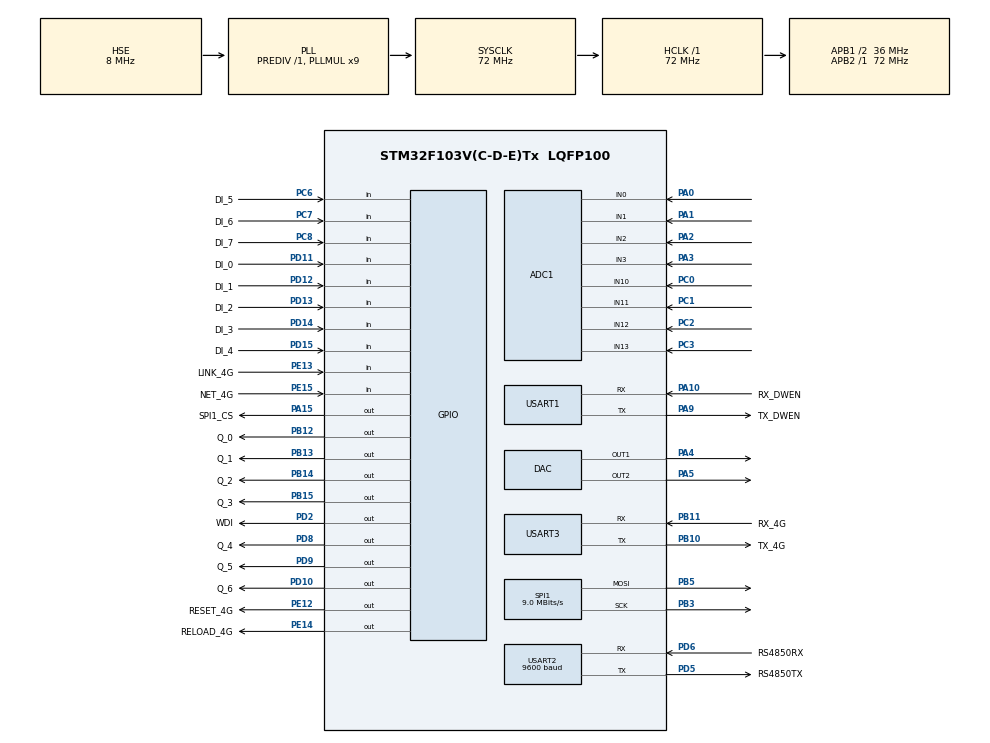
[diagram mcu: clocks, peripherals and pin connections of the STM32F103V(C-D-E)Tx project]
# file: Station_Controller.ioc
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ADC1.Channel-0\#ChannelRegularConversion=ADC_CHANNEL_0
ADC1.Channel-1\#ChannelRegularConversion=ADC_CHANNEL_1
ADC1.Channel-2\#ChannelRegularConversion=ADC_CHANNEL_2
ADC1.Channel-3\#ChannelRegularConversion=ADC_CHANNEL_3
ADC1.Channel-4\#ChannelRegularConversion=ADC_CHANNEL_10
ADC1.Channel-5\#ChannelRegularConversion=ADC_CHANNEL_11
ADC1.Channel-6\#ChannelRegularConversion=ADC_CHANNEL_12
ADC1.Channel-7\#ChannelRegularConversion=ADC_CHANNEL_13
ADC1.ContinuousConvMode=ENABLE
ADC1.EnableAnalogWatchDog=false
ADC1.NbrOfConversion=8
ADC1.NbrOfConversionFlag=1
ADC1.Rank-0\#ChannelRegularConversion=1
ADC1.Rank-1\#ChannelRegularConversion=2
ADC1.Rank-2\#ChannelRegularConversion=3
ADC1.Rank-3\#ChannelRegularConversion=4
ADC1.Rank-4\#ChannelRegularConversion=5
ADC1.Rank-5\#ChannelRegularConversion=6
ADC1.Rank-6\#ChannelRegularConversion=7
ADC1.Rank-7\#ChannelRegularConversion=8
ADC1.SamplingTime-0\#ChannelRegularConversion=ADC_SAMPLETIME_28CYCLES_5
ADC1.SamplingTime-1\#ChannelRegularConversion=ADC_SAMPLETIME_28CYCLES_5
ADC1.SamplingTime-2\#ChannelRegularConversion=ADC_SAMPLETIME_28CYCLES_5
ADC1.SamplingTime-3\#ChannelRegularConversion=ADC_SAMPLETIME_28CYCLES_5
ADC1.SamplingTime-4\#ChannelRegularConversion=ADC_SAMPLETIME_28CYCLES_5
ADC1.SamplingTime-5\#ChannelRegularConversion=ADC_SAMPLETIME_28CYCLES_5
ADC1.SamplingTime-6\#ChannelRegularConversion=ADC_SAMPLETIME_28CYCLES_5
ADC1.SamplingTime-7\#ChannelRegularConversion=ADC_SAMPLETIME_28CYCLES_5
ADC1.master=1
Dma.ADC1.2.Direction=DMA_PERIPH_TO_MEMORY
Dma.ADC1.2.Instance=DMA1_Channel1
Dma.ADC1.2.MemDataAlignment=DMA_MDATAALIGN_WORD
Dma.ADC1.2.MemInc=DMA_MINC_ENABLE
Dma.ADC1.2.Mode=DMA_CIRCULAR
Dma.ADC1.2.PeriphDataAlignment=DMA_PDATAALIGN_WORD
Dma.ADC1.2.PeriphInc=DMA_PINC_DISABLE
Dma.ADC1.2.Priority=DMA_PRIORITY_VERY_HIGH
Dma.Request0=USART1_RX
Dma.Request1=USART1_TX
Dma.Request2=ADC1
Dma.Request3=USART2_RX
Dma.Request4=USART2_TX
Dma.Request5=USART3_RX
Dma.Request6=USART3_TX
Dma.USART1_RX.0.Direction=DMA_PERIPH_TO_MEMORY
Dma.USART1_RX.0.Instance=DMA1_Channel5
Dma.USART1_RX.0.MemDataAlignment=DMA_MDATAALIGN_BYTE
Dma.USART1_RX.0.MemInc=DMA_MINC_ENABLE
Dma.USART1_RX.0.Mode=DMA_NORMAL
Dma.USART1_RX.0.PeriphDataAlignment=DMA_PDATAALIGN_BYTE
Dma.USART1_RX.0.PeriphInc=DMA_PINC_DISABLE
Dma.USART1_RX.0.Priority=DMA_PRIORITY_HIGH
Dma.USART1_TX.1.Direction=DMA_MEMORY_TO_PERIPH
Dma.USART1_TX.1.Instance=DMA1_Channel4
Dma.USART1_TX.1.MemDataAlignment=DMA_MDATAALIGN_BYTE
Dma.USART1_TX.1.MemInc=DMA_MINC_ENABLE
Dma.USART1_TX.1.Mode=DMA_NORMAL
Dma.USART1_TX.1.PeriphDataAlignment=DMA_PDATAALIGN_BYTE
Dma.USART1_TX.1.PeriphInc=DMA_PINC_DISABLE
Dma.USART1_TX.1.Priority=DMA_PRIORITY_HIGH
Dma.USART2_RX.3.Direction=DMA_PERIPH_TO_MEMORY
Dma.USART2_RX.3.Instance=DMA1_Channel6
Dma.USART2_RX.3.MemDataAlignment=DMA_MDATAALIGN_BYTE
Dma.USART2_RX.3.MemInc=DMA_MINC_ENABLE
Dma.USART2_RX.3.Mode=DMA_NORMAL
Dma.USART2_RX.3.PeriphDataAlignment=DMA_PDATAALIGN_BYTE
Dma.USART2_RX.3.PeriphInc=DMA_PINC_DISABLE
Dma.USART2_RX.3.Priority=DMA_PRIORITY_LOW
Dma.USART2_TX.4.Direction=DMA_MEMORY_TO_PERIPH
Dma.USART2_TX.4.Instance=DMA1_Channel7
Dma.USART2_TX.4.MemDataAlignment=DMA_MDATAALIGN_BYTE
Dma.USART2_TX.4.MemInc=DMA_MINC_ENABLE
Dma.USART2_TX.4.Mode=DMA_NORMAL
Dma.USART2_TX.4.PeriphDataAlignment=DMA_PDATAALIGN_BYTE
Dma.USART2_TX.4.PeriphInc=DMA_PINC_DISABLE
Dma.USART2_TX.4.Priority=DMA_PRIORITY_LOW
Dma.USART3_RX.5.Direction=DMA_PERIPH_TO_MEMORY
Dma.USART3_RX.5.Instance=DMA1_Channel3
Dma.USART3_RX.5.MemDataAlignment=DMA_MDATAALIGN_BYTE
Dma.USART3_RX.5.MemInc=DMA_MINC_ENABLE
Dma.USART3_RX.5.Mode=DMA_NORMAL
Dma.USART3_RX.5.PeriphDataAlignment=DMA_PDATAALIGN_BYTE
Dma.USART3_RX.5.PeriphInc=DMA_PINC_DISABLE
Dma.USART3_RX.5.Priority=DMA_PRIORITY_MEDIUM
Dma.USART3_TX.6.Direction=DMA_MEMORY_TO_PERIPH
Dma.USART3_TX.6.Instance=DMA1_Channel2
Dma.USART3_TX.6.MemDataAlignment=DMA_MDATAALIGN_BYTE
Dma.USART3_TX.6.MemInc=DMA_MINC_ENABLE
Dma.USART3_TX.6.Mode=DMA_NORMAL
Dma.USART3_TX.6.PeriphDataAlignment=DMA_PDATAALIGN_BYTE
Dma.USART3_TX.6.PeriphInc=DMA_PINC_DISABLE
Dma.USART3_TX.6.Priority=DMA_PRIORITY_MEDIUM
FREERTOS.BinarySemaphores01=Recive_Uart1,Dynamic,NULL;Recive_Uart2,Dynamic,NULL;Recive_Uart3,Dynamic,NULL
FREERTOS.Mutexes01=shellMutex,Dynamic,NULL
FREERTOS.Queues01=UserQueue,4,Save_User,0,Dynamic,NULL,NULL
FREERTOS.Tasks01=Shell,-2,1024,Shell_Task,Default,&shell,Dynamic,NULL,NULL;Input,1,256,Input_Task,Default,NULL,Dynamic,NULL,NULL;Output,0,256,Out_Task,Default,NULL,Dynamic,NULL,NULL;Update,2,256,Update_Task,Default,Slave1_Object,Dynamic,NULL,NULL;Screen,0,256,Screen_Task,Default,NULL,Dynamic,NULL,NULL;RS485,-2,128,RS485_Task,Default,NULL,Dynamic,NULL,NULL;Contrl,2,1024,Contrl_Task,Default,NULL,Dynamic,NULL,NULL;Report,-1,256,Report_Task,Default,NULL,Dynamic,NULL,NULL
FREERTOS.Timers01=mdtimer,MdTimer,osTimerPeriodic,Default,Slave1_Object,Dynamic,NULL
FREERTOS.configCHECK_FOR_STACK_OVERFLOW=2
FREERTOS.configTOTAL_HEAP_SIZE=40960
FREERTOS.configUSE_MALLOC_FAILED_HOOK=1
FREERTOS.configUSE_TIMERS=1
Mcu.Family=STM32F1
Mcu.Name=STM32F103V(C-D-E)Tx
Mcu.Package=LQFP100
NVIC.DMA1_Channel1_IRQn=true\:5\:0\:false\:false\:true\:true\:false\:true\:true
NVIC.DMA1_Channel2_IRQn=true\:5\:0\:false\:false\:true\:true\:false\:true\:true
NVIC.DMA1_Channel3_IRQn=true\:5\:0\:false\:false\:true\:true\:false\:true\:true
NVIC.DMA1_Channel4_IRQn=true\:5\:0\:false\:false\:true\:true\:false\:true\:true
NVIC.DMA1_Channel5_IRQn=true\:5\:0\:false\:false\:true\:true\:false\:true\:true
NVIC.DMA1_Channel6_IRQn=true\:5\:0\:false\:false\:true\:true\:false\:true\:true
NVIC.DMA1_Channel7_IRQn=true\:5\:0\:false\:false\:true\:true\:false\:true\:true
NVIC.PriorityGroup=NVIC_PRIORITYGROUP_4
NVIC.TIM1_UP_IRQn=true\:0\:0\:false\:false\:true\:false\:false\:true\:true
NVIC.TimeBase=TIM1_UP_IRQn
NVIC.TimeBaseIP=TIM1
NVIC.USART1_IRQn=true\:5\:0\:false\:false\:true\:true\:true\:true\:true
NVIC.USART2_IRQn=true\:5\:0\:true\:false\:true\:true\:true\:true\:true
NVIC.USART3_IRQn=true\:5\:0\:false\:false\:true\:true\:true\:true\:true
OSC_IN.Mode=HSE-External-Oscillator
OSC_IN.Signal=RCC_OSC_IN
OSC_OUT.Mode=HSE-External-Oscillator
OSC_OUT.Signal=RCC_OSC_OUT
PA0-WKUP.Signal=ADCx_IN0
PA1.Signal=ADCx_IN1
PA10.GPIO_Label=RX_DWEN
PA10.Mode=Asynchronous
PA10.Signal=USART1_RX
PA13.Mode=Serial_Wire
PA13.Signal=SYS_JTMS-SWDIO
PA14.Mode=Serial_Wire
PA14.Signal=SYS_JTCK-SWCLK
PA15.GPIO_Label=SPI1_CS
PA15.GPIO_PuPd=GPIO_PULLUP
PA15.GPIO_Speed=GPIO_SPEED_FREQ_HIGH
PA15.PinState=GPIO_PIN_SET
PA15.Signal=GPIO_Output
PA2.Signal=ADCx_IN2
PA3.Signal=ADCx_IN3
PA4.Signal=COMP_DAC1_group
PA5.Signal=COMP_DAC2_group
PA9.GPIO_Label=TX_DWEN
PA9.Mode=Asynchronous
PA9.Signal=USART1_TX
PB10.GPIO_Label=TX_4G
PB10.Mode=Asynchronous
PB10.Signal=USART3_TX
PB11.GPIO_Label=RX_4G
PB11.Mode=Asynchronous
PB11.Signal=USART3_RX
PB12.GPIO_Label=Q_0
PB12.GPIO_PuPd=GPIO_PULLUP
PB12.GPIO_Speed=GPIO_SPEED_FREQ_MEDIUM
PB12.Signal=GPIO_Output
PB13.GPIO_Label=Q_1
PB13.GPIO_PuPd=GPIO_PULLUP
PB13.GPIO_Speed=GPIO_SPEED_FREQ_MEDIUM
PB13.Signal=GPIO_Output
PB14.GPIO_Label=Q_2
PB14.GPIO_PuPd=GPIO_PULLUP
PB14.GPIO_Speed=GPIO_SPEED_FREQ_MEDIUM
PB14.Signal=GPIO_Output
PB15.GPIO_Label=Q_3
PB15.GPIO_PuPd=GPIO_PULLUP
PB15.GPIO_Speed=GPIO_SPEED_FREQ_MEDIUM
PB15.Signal=GPIO_Output
PB3.Mode=TX_Only_Simplex_Unidirect_Master
PB3.Signal=SPI1_SCK
PB5.Mode=TX_Only_Simplex_Unidirect_Master
PB5.Signal=SPI1_MOSI
PC0.Signal=ADCx_IN10
PC1.Signal=ADCx_IN11
PC14-OSC32_IN.Mode=LSE-External-Oscillator
PC14-OSC32_IN.Signal=RCC_OSC32_IN
PC15-OSC32_OUT.Mode=LSE-External-Oscillator
PC15-OSC32_OUT.Signal=RCC_OSC32_OUT
PC2.Signal=ADCx_IN12
PC3.Signal=ADCx_IN13
PC6.GPIO_Label=DI_5
PC6.GPIO_PuPd=GPIO_PULLUP
PC6.Signal=GPIO_Input
PC7.GPIO_Label=DI_6
PC7.GPIO_PuPd=GPIO_PULLUP
PC7.Signal=GPIO_Input
PC8.GPIO_Label=DI_7
PC8.GPIO_PuPd=GPIO_PULLUP
PC8.Signal=GPIO_Input
PD10.GPIO_Label=Q_6
PD10.GPIO_PuPd=GPIO_PULLUP
PD10.GPIO_Speed=GPIO_SPEED_FREQ_MEDIUM
PD10.Signal=GPIO_Output
PD11.GPIO_Label=DI_0
PD11.GPIO_PuPd=GPIO_PULLUP
PD11.Signal=GPIO_Input
PD12.GPIO_Label=DI_1
PD12.GPIO_PuPd=GPIO_PULLUP
PD12.Signal=GPIO_Input
PD13.GPIO_Label=DI_2
PD13.GPIO_PuPd=GPIO_PULLUP
PD13.Signal=GPIO_Input
PD14.GPIO_Label=DI_3
PD14.GPIO_PuPd=GPIO_PULLUP
PD14.Signal=GPIO_Input
PD15.GPIO_Label=DI_4
PD15.GPIO_PuPd=GPIO_PULLUP
PD15.Signal=GPIO_Input
PD2.GPIO_Label=WDI
PD2.GPIO_PuPd=GPIO_PULLUP
PD2.GPIO_Speed=GPIO_SPEED_FREQ_LOW
PD2.PinState=GPIO_PIN_RESET
PD2.Signal=GPIO_Output
PD5.GPIO_Label=RS4850TX
PD5.Mode=Asynchronous
PD5.Signal=USART2_TX
PD6.GPIO_Label=RS4850RX
PD6.Mode=Asynchronous
PD6.Signal=USART2_RX
PD8.GPIO_Label=Q_4
PD8.GPIO_PuPd=GPIO_PULLUP
PD8.GPIO_Speed=GPIO_SPEED_FREQ_MEDIUM
PD8.Signal=GPIO_Output
PD9.GPIO_Label=Q_5
PD9.GPIO_PuPd=GPIO_PULLUP
PD9.GPIO_Speed=GPIO_SPEED_FREQ_MEDIUM
PD9.Signal=GPIO_Output
PE12.GPIO_Label=RESET_4G
PE12.GPIO_PuPd=GPIO_PULLUP
PE12.PinState=GPIO_PIN_SET
PE12.Signal=GPIO_Output
PE13.GPIO_Label=LINK_4G
PE13.GPIO_PuPd=GPIO_PULLUP
PE13.Signal=GPIO_Input
PE14.GPIO_Label=RELOAD_4G
PE14.GPIO_PuPd=GPIO_PULLUP
PE14.GPIO_Speed=GPIO_SPEED_FREQ_LOW
PE14.PinState=GPIO_PIN_SET
PE14.Signal=GPIO_Output
PE15.GPIO_Label=NET_4G
PE15.GPIO_PuPd=GPIO_PULLUP
PE15.Signal=GPIO_Input
ProjectManager.HeapSize=0x200
ProjectManager.StackSize=0x800
ProjectManager.TargetToolchain=MDK-ARM V5.27
RCC.ADCPresc=RCC_ADCPCLK2_DIV6
RCC.AHBFreq_Value=72000000
RCC.APB1CLKDivider=RCC_HCLK_DIV2
RCC.APB1Freq_Value=36000000
RCC.APB1TimFreq_Value=72000000
RCC.APB2Freq_Value=72000000
RCC.APB2TimFreq_Value=72000000
RCC.HCLKFreq_Value=72000000
RCC.PLLMUL=RCC_PLL_MUL9
RCC.PLLSourceVirtual=RCC_PLLSOURCE_HSE
RCC.SYSCLKFreq_VALUE=72000000
RCC.SYSCLKSource=RCC_SYSCLKSOURCE_PLLCLK
RCC.USBFreq_Value=72000000
SH.ADCx_IN0.0=ADC1_IN0,IN0
SH.ADCx_IN1.0=ADC1_IN1,IN1
SH.ADCx_IN10.0=ADC1_IN10,IN10
SH.ADCx_IN11.0=ADC1_IN11,IN11
SH.ADCx_IN12.0=ADC1_IN12,IN12
SH.ADCx_IN13.0=ADC1_IN13,IN13
SH.ADCx_IN2.0=ADC1_IN2,IN2
SH.ADCx_IN3.0=ADC1_IN3,IN3
SH.COMP_DAC1_group.0=DAC_OUT1,DAC_OUT1
SH.COMP_DAC2_group.0=DAC_OUT2,DAC_OUT2
SPI1.BaudRatePrescaler=SPI_BAUDRATEPRESCALER_8
SPI1.CalculateBaudRate=9.0 MBits/s
SPI1.DataSize=SPI_DATASIZE_16BIT
SPI1.Direction=SPI_DIRECTION_2LINES
SPI1.Mode=SPI_MODE_MASTER
SPI1.VirtualType=VM_MASTER
USART1.VirtualMode=VM_ASYNC
USART2.BaudRate=9600
USART2.VirtualMode=VM_ASYNC
USART3.VirtualMode=VM_ASYNC
VP_FREERTOS_VS_CMSIS_V1.Mode=CMSIS_V1
VP_SYS_VS_tim1.Mode=TIM1
board=custom

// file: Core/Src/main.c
/* USER CODE BEGIN Header */
/**
 ******************************************************************************
 * @file           : main.c
 * @brief          : Main program body
 ******************************************************************************
 * @attention
 *
 * <h2><center>&copy; Copyright (c) 2022 STMicroelectronics.
 * All rights reserved.</center></h2>
 *
 * This software component is licensed by ST under Ultimate Liberty license
 * SLA0044, the "License"; You may not use this file except in compliance with
 * the License. You may obtain a copy of the License at:
 *                             www.st.com/SLA0044
 *
 ******************************************************************************
 */
/* USER CODE END Header */
#include "main.h"
#include "cmsis_os.h"
#include "adc.h"
#include "dac.h"
#include "dma.h"
#include "spi.h"
#include "usart.h"
#include "gpio.h"

/* USER CODE BEGIN Includes */
#include "shell_port.h"
#include "mdrtuslave.h"
#include "dwin.h"
#include "Flash.h"
#include "tool.h"
#include "lte.h"
/* USER CODE END Includes */

/* USER CODE BEGIN PTD */
Save_Param Save_InitPara = {
    // .flag = SAVE_SURE_CODE,
    .crc16 = 0x9D61, // 0xE31A
    .Ptank_max = 4.0F,
    .Ptank_min = 0.0F,
    .Pvap_outlet_max = 4.0F,
    .Pvap_outlet_min = 0.0F,
    .Pgas_soutlet_max = 4.0F,
    .Pgas_soutlet_min = 0.0F,
    .Ltank_max = 50.0F,
    .Ltank_min = 0.0F,
    .Ptoler_upper = 1.2F,
    .Ptoler_lower = 0.66F,
    .Ltoler_upper = 2.0F,
    .Ltoler_lower = 0.5F,
    .PSspf_start = 2.0F,
    .PSspf_stop = 1.8F,
    // .PSvap_outlet_limit = 1.1F,
    .PSvap_outlet_Start = 1.2F,
    .Pback_difference = 0.2F,
    .Ptank_difference = 2.0F,
    // .PPvap_outlet_limit = 2.2F,
    .PPvap_outlet_Start = 2.2F,
    .PPspf_start = 2.3F,
    .PPspf_stop = 2.1F,
    .Ptank_limit = 1.2F,
    .Ltank_limit = 2.0F,
    // .Pvap_outlet_stop = 1.8F,
    .PPvap_outlet_stop = 1.8F,
    .PSvap_outlet_stop = 1.1F,
    .User_Name = 0x07E6,
    .User_Code = 0x0522,
    .System_Version = SYSTEM_VERSION(),
    .System_Flag = 0xFFFFFFFF,
    .Adc = {
        .Cp = 0.009052399F,
        .Cq = 0.588793299F,
    },
    .Dac = {.Dac = {
                {202.3956F, 4.585381F},
                {203.08832F, -1.29154F},
                {190.0288F, -19.1239F},
                {189.398281F, -16.8367F},
            }},
    .Error_Code = 0x0000,
    // .Update = 0xFFFFFFFF,
};
/* USER CODE END PTD */

/* USER CODE BEGIN PM */
extern void Report_Backparam(pDwinHandle pd, Save_Param *sp);
/* USER CODE END PM */

void SystemClock_Config(void);
void MX_FREERTOS_Init(void);

int main(void)
{
  /* USER CODE BEGIN 1 */
  Save_HandleTypeDef *ps = &Save_Flash;
  // Save_Param *sp = &Save_Flash.Param;
  /* USER CODE END 1 */

  /* MCU Configuration--------------------------------------------------------*/

  /* Reset of all peripherals, Initializes the Flash interface and the Systick. */
  HAL_Init();

  /* Configure the system clock */
  SystemClock_Config();

  /* Initialize all configured peripherals */
  MX_GPIO_Init();
  MX_DMA_Init();
  MX_USART1_UART_Init();
  MX_USART3_UART_Init();
  MX_ADC1_Init();
  MX_DAC_Init();
  MX_SPI1_Init();
  MX_USART2_UART_Init();
  /* USER CODE BEGIN 2 */
  HAL_ADC_Start_DMA(&hadc1, (uint32_t *)Adc_buffer, ADC_DMA_SIZE);
  MX_ShellInit(Shell_Object);
  MX_ModbusInit();
  MX_DwinInit();
  FLASH_Init();
  FLASH_Read(PARAM_SAVE_ADDRESS, &ps->Param, sizeof(Save_Param));
  /*Must be 4 byte aligned!!!*/
  uint16_t crc16 = Get_Crc16((uint8_t *)&ps->Param, sizeof(Save_Param) - sizeof(ps->Param.crc16), 0xFFFF);
#if defined(USING_DEBUG)
  // shellPrint(Shell_Object, "ps->Param.flag = 0x%x\r\n", ps->Param.flag);
  shellPrint(Shell_Object, "ps->Param.crc16 = 0x%x, crc16 = 0x%x.\r\n", ps->Param.crc16, crc16);
#endif
  // if (Save_Flash.Param.flag != SAVE_SURE_CODE)
  if (crc16 != ps->Param.crc16)
  {
    Save_InitPara.crc16 = Get_Crc16((uint8_t *)&Save_InitPara, sizeof(Save_Param) - sizeof(Save_InitPara.crc16), 0xFFFF);
    memcpy(&ps->Param, &Save_InitPara, sizeof(Save_Param));
    FLASH_Write(PARAM_SAVE_ADDRESS, (uint16_t *)&Save_InitPara, sizeof(Save_Param));
#if defined(USING_DEBUG)
    shellPrint(Shell_Object, "Save_InitPara.crc16 = 0x%x,First initialization of flash parameters!\r\n", Save_InitPara.crc16);
#endif
    /*Initial 4G module*/
    MX_AtInit();
    if (At_Object)
    {
      At_Object->AT_SetDefault(At_Object);
      At_Object->Free_AtObject(&At_Object);
    }
  }
  if (Slave1_Object)
  {
    /*Idle interrupt*/
    __HAL_UART_ENABLE_IT(&huart3, UART_IT_IDLE);
    /*DMA buffer must point to an entity address!!!*/
    HAL_UART_Receive_DMA(&huart3, mdRTU_Recive_Buf(Slave1_Object), MODBUS_PDU_SIZE_MAX);
    /*Parameters are written to the mdbus hold register*/
    // Param_WriteBack(ps);
  }
#if !defined(USING_SHELL)
  if (Slave2_Object)
  {
    /*Idle interrupt*/
    __HAL_UART_ENABLE_IT(&huart2, UART_IT_IDLE);
    /*DMA buffer must point to an entity address!!!*/
    HAL_UART_Receive_DMA(&huart2, mdRTU_Recive_Buf(Slave2_Object), MODBUS_PDU_SIZE_MAX);
  }
#endif
  if (Dwin_Object)
  {
    /*Idle interrupt*/
    __HAL_UART_ENABLE_IT(&huart1, UART_IT_IDLE);
    /*DMA buffer must point to an entity address!!!*/
    HAL_UART_Receive_DMA(&huart1, Dwin_Recive_Buf(Dwin_Object), Dwin_Rx_Size(Dwin_Object));
  }
  /*Turn off the global interrupt in bootloader, and turn it on here*/
  __set_FAULTMASK(0);
  /*Solve the problem that the background data cannot be received due to the unstable power supply when the Devon screen is turned on*/
  HAL_Delay(2000);
  Report_Backparam(Dwin_Object, &ps->Param);
  /*Turn on the DAC*/
  HAL_DAC_Start(&hdac, DAC_CHANNEL_1);
  HAL_DAC_Start(&hdac, DAC_CHANNEL_2);
  /* USER CODE END 2 */

  /* Call init function for freertos objects (in freertos.c) */
  MX_FREERTOS_Init();

  /* Start scheduler */
  osKernelStart();

  /* We should never get here as control is now taken by the scheduler */
  /* Infinite loop */
  while (1)
  {

  }
}

void SystemClock_Config(void)
{
  RCC_OscInitTypeDef RCC_OscInitStruct = {0};
  RCC_ClkInitTypeDef RCC_ClkInitStruct = {0};
  RCC_PeriphCLKInitTypeDef PeriphClkInit = {0};

  /** Initializes the RCC Oscillators according to the specified parameters
   * in the RCC_OscInitTypeDef structure.
   */
  RCC_OscInitStruct.OscillatorType = RCC_OSCILLATORTYPE_HSE;
  RCC_OscInitStruct.HSEState = RCC_HSE_ON;
  RCC_OscInitStruct.HSEPredivValue = RCC_HSE_PREDIV_DIV1;
  RCC_OscInitStruct.HSIState = RCC_HSI_ON;
  RCC_OscInitStruct.PLL.PLLState = RCC_PLL_ON;
  RCC_OscInitStruct.PLL.PLLSource = RCC_PLLSOURCE_HSE;
  RCC_OscInitStruct.PLL.PLLMUL = RCC_PLL_MUL9;
  if (HAL_RCC_OscConfig(&RCC_OscInitStruct) != HAL_OK)
  {
    Error_Handler();
  }

  /** Initializes the CPU, AHB and APB buses clocks
   */
  RCC_ClkInitStruct.ClockType = RCC_CLOCKTYPE_HCLK | RCC_CLOCKTYPE_SYSCLK | RCC_CLOCKTYPE_PCLK1 | RCC_CLOCKTYPE_PCLK2;
  RCC_ClkInitStruct.SYSCLKSource = RCC_SYSCLKSOURCE_PLLCLK;
  RCC_ClkInitStruct.AHBCLKDivider = RCC_SYSCLK_DIV1;
  RCC_ClkInitStruct.APB1CLKDivider = RCC_HCLK_DIV2;
  RCC_ClkInitStruct.APB2CLKDivider = RCC_HCLK_DIV1;

  if (HAL_RCC_ClockConfig(&RCC_ClkInitStruct, FLASH_LATENCY_2) != HAL_OK)
  {
    Error_Handler();
  }
  PeriphClkInit.PeriphClockSelection = RCC_PERIPHCLK_ADC;
  PeriphClkInit.AdcClockSelection = RCC_ADCPCLK2_DIV6;
  if (HAL_RCCEx_PeriphCLKConfig(&PeriphClkInit) != HAL_OK)
  {
    Error_Handler();
  }
}

void HAL_TIM_PeriodElapsedCallback(TIM_HandleTypeDef *htim)
{
  if (htim->Instance == TIM1)
  {
    HAL_IncTick();
  }
}

void Error_Handler(void)
{
  __disable_irq();
  while (1)
  {
  }
}

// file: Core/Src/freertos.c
/* USER CODE BEGIN Header */
/**
 ******************************************************************************
 * File Name          : freertos.c
 * Description        : Code for freertos applications
 ******************************************************************************
 * @attention
 *
 * <h2><center>&copy; Copyright (c) 2022 STMicroelectronics.
 * All rights reserved.</center></h2>
 *
 * This software component is licensed by ST under Ultimate Liberty license
 * SLA0044, the "License"; You may not use this file except in compliance with
 * the License. You may obtain a copy of the License at:
 *                             www.st.com/SLA0044
 *
 ******************************************************************************
 */
/* USER CODE END Header */

#include "FreeRTOS.h"
#include "task.h"
#include "main.h"
#include "cmsis_os.h"

/* USER CODE BEGIN Includes */
#include "usart.h"
#include "shell_port.h"
#include "mdrtuslave.h"
#include "io_signal.h"
#include "dwin.h"
#include "adc.h"
#include "tool.h"
#include "Flash.h"
#include "Mcp4822.h"
/* USER CODE END Includes */

/* USER CODE BEGIN PTD */

Save_HandleTypeDef Save_Flash;
Save_User *puser = &Save_Flash.User;
// GPIO_PinState g_Status = GPIO_PIN_SET;
/* USER CODE END PTD */

osThreadId ShellHandle;
osThreadId InputHandle;
osThreadId OutputHandle;
osThreadId UpdateHandle;
osThreadId ScreenHandle;
osThreadId RS485Handle;
osThreadId ContrlHandle;
osThreadId ReportHandle;
osMessageQId UserQueueHandle;
osTimerId mdtimerHandle;
osMutexId shellMutexHandle;
osSemaphoreId Recive_Uart1Handle;
osSemaphoreId Recive_Uart2Handle;
osSemaphoreId Recive_Uart3Handle;

/* USER CODE BEGIN FunctionPrototypes */
/**
 * @brief	Report screen background parameters
 * @details
 * @param	pd:Dewin obj
 * @param sp:data pointer
 * @retval	NULL
 */
void Report_Backparam(pDwinHandle pd, Save_Param *sp)
{
  uint32_t actual_size = offsetof(Save_Param, User_Name); // 29*szieof(float)
#if defined(USING_FREERTOS)
  float *pdata = (float *)CUSTOM_MALLOC(actual_size);
  if (!pdata)
    goto __exit;
#else
  float pdata[sizeof(Save_Param) - 1U];
#endif

  memcpy(pdata, sp, actual_size);
  for (float *p = pdata; p < pdata + actual_size / sizeof(float); p++)
  {
#if defined(USING_DEBUG)
    shellPrint(Shell_Object, "sp = %p,p = %p, *p = %.3f\r\n", sp, p, *p);
#endif
    Endian_Swap((uint8_t *)p, 0U, sizeof(float));
  }
  pd->Dw_Write(pd, PARAM_SETTING_ADDR, (uint8_t *)pdata, actual_size);
__exit:
  CUSTOM_FREE(pdata);
}

/**
 * @brief	Determine how the 4G module works
 * @details
 * @param	handler:modbus master/slave handle
 * @retval	true：MODBUS;fasle:shell
 */
bool Check_Mode(ModbusRTUSlaveHandler handler)
{
  ReceiveBufferHandle pB = handler->receiveBuffer;

  return (!!((pB->count == 1U) && (pB->buf[0] == ENTER_CODE)));
}
/**
 * @brief   enter shell mode
 * @details
 * @param	None
 * @retval	None
 */
// static void Shell_Mode(void)
// {
//   __HAL_UART_DISABLE_IT(&huart3, UART_IT_IDLE);
//   HAL_NVIC_DisableIRQ(USART3_IRQn);
//   if (HAL_UART_DMAStop(&huart3) != HAL_OK)
//   {
//     return;
//   }
//   /*Pending upgrade task*/
//   osThreadSuspend(UpdateHandle);
//   /*Resume shell task*/
//   osThreadResume(ShellHandle);
//   /*stop send timer*/
//   osTimerStop(mdtimerHandle);
// }

/**
 * @brief   exit shell mode
 * @details
 * @param	None
 * @retval	None
 */
bool Exit_Shell(void)
{
  __HAL_UART_ENABLE_IT(&huart3, UART_IT_IDLE);
  HAL_NVIC_EnableIRQ(USART3_IRQn);
  if (HAL_UART_Receive_DMA(&huart3, mdRTU_Recive_Buf(Slave1_Object), MODBUS_PDU_SIZE_MAX) != HAL_OK)
  {
    return false;
  }
  /*Restore upgrade task*/
  osThreadResume(UpdateHandle);
  /*Suspend shell task*/
  osThreadSuspend(ShellHandle);
  /*Turn on send timer*/
  osTimerStart(mdtimerHandle, REPORT_TIMES);
  return true;
}
#if defined(USING_DEBUG)
SHELL_EXPORT_CMD(SHELL_CMD_PERMISSION(0) | SHELL_CMD_TYPE(SHELL_TYPE_CMD_FUNC), exit_shell, Exit_Shell, exit);
#endif

/**
 * @brief	Background parameters are written back to modbus registers
 * @details
 * @param	ps Points to the address of the first background parameter
 * @retval	None
 */
void Param_WriteBack(Save_HandleTypeDef *ps)
{
  ps->Param.System_Flag = (*(__IO uint32_t *)UPDATE_SAVE_ADDRESS);
  ps->Param.System_Version = SYSTEM_VERSION();
  /*Parameters are written to the mdbus hold register*/
  mdSTATUS ret = mdRTU_WriteHoldRegs(Slave1_Object, PARAM_MD_ADDR, GET_PARAM_SITE(Save_Param, Adc, uint16_t),
                                     (mdU16 *)&ps->Param);
  if (ret == mdFALSE)
  {
#if defined(USING_DEBUG)
    shellPrint(Shell_Object, "Parameter write to hold register failed!\r\n");
#endif
  }
}
/* USER CODE END FunctionPrototypes */

void Shell_Task(void const *argument);
void Input_Task(void const *argument);
void Out_Task(void const *argument);
void Update_Task(void const *argument);
void Screen_Task(void const *argument);
void RS485_Task(void const *argument);
void Contrl_Task(void const *argument);
void Report_Task(void const *argument);
void MdTimer(void const *argument);

void MX_FREERTOS_Init(void); /* (MISRA C 2004 rule 8.1) */

/* GetIdleTaskMemory prototype (linked to static allocation support) */
void vApplicationGetIdleTaskMemory(StaticTask_t **ppxIdleTaskTCBBuffer, StackType_t **ppxIdleTaskStackBuffer, uint32_t *pulIdleTaskStackSize);

/* GetTimerTaskMemory prototype (linked to static allocation support) */
void vApplicationGetTimerTaskMemory(StaticTask_t **ppxTimerTaskTCBBuffer, StackType_t **ppxTimerTaskStackBuffer, uint32_t *pulTimerTaskStackSize);

/* Hook prototypes */
void vApplicationStackOverflowHook(xTaskHandle xTask, signed char *pcTaskName);
void vApplicationMallocFailedHook(void);

/* USER CODE BEGIN 4 */
__weak void vApplicationStackOverflowHook(xTaskHandle xTask, signed char *pcTaskName)
{
  /* Run time stack overflow checking is performed if
  configCHECK_FOR_STACK_OVERFLOW is defined to 1 or 2. This hook function is
  called if a stack overflow is detected. */
  shellPrint(Shell_Object, "%s is stack overflow!\r\n", pcTaskName);
}
/* USER CODE END 4 */

/* USER CODE BEGIN 5 */
__weak void vApplicationMallocFailedHook(void)
{
  /* vApplicationMallocFailedHook() will only be called if
  configUSE_MALLOC_FAILED_HOOK is set to 1 in FreeRTOSConfig.h. It is a hook
  function that will get called if a call to pvPortMalloc() fails.
  pvPortMalloc() is called internally by the kernel whenever a task, queue,
  timer or semaphore is created. It is also called by various parts of the
  demo application. If heap_1.c or heap_2.c are used, then the size of the
  heap available to pvPortMalloc() is defined by configTOTAL_HEAP_SIZE in
  FreeRTOSConfig.h, and the xPortGetFreeHeapSize() API function can be used
  to query the size of free heap space that remains (although it does not
  provide information on how the remaining heap might be fragmented). */
  shellPrint(Shell_Object, "memory allocation failed!\r\n");
}
/* USER CODE END 5 */

/* USER CODE BEGIN GET_IDLE_TASK_MEMORY */
static StaticTask_t xIdleTaskTCBBuffer;
static StackType_t xIdleStack[configMINIMAL_STACK_SIZE];

void vApplicationGetIdleTaskMemory(StaticTask_t **ppxIdleTaskTCBBuffer, StackType_t **ppxIdleTaskStackBuffer, uint32_t *pulIdleTaskStackSize)
{
  *ppxIdleTaskTCBBuffer = &xIdleTaskTCBBuffer;
  *ppxIdleTaskStackBuffer = &xIdleStack[0];
  *pulIdleTaskStackSize = configMINIMAL_STACK_SIZE;
  /* place for user code */
}
/* USER CODE END GET_IDLE_TASK_MEMORY */

/* USER CODE BEGIN GET_TIMER_TASK_MEMORY */
static StaticTask_t xTimerTaskTCBBuffer;
static StackType_t xTimerStack[configTIMER_TASK_STACK_DEPTH];

void vApplicationGetTimerTaskMemory(StaticTask_t **ppxTimerTaskTCBBuffer, StackType_t **ppxTimerTaskStackBuffer, uint32_t *pulTimerTaskStackSize)
{
  *ppxTimerTaskTCBBuffer = &xTimerTaskTCBBuffer;
  *ppxTimerTaskStackBuffer = &xTimerStack[0];
  *pulTimerTaskStackSize = configTIMER_TASK_STACK_DEPTH;
  /* place for user code */
}
/* USER CODE END GET_TIMER_TASK_MEMORY */

void MX_FREERTOS_Init(void)
{
  /* Create the mutex(es) */
  /* definition and creation of shellMutex */
  osMutexDef(shellMutex);
  shellMutexHandle = osMutexCreate(osMutex(shellMutex));

  /* Create the semaphores(s) */
  /* definition and creation of Recive_Uart1 */
  osSemaphoreDef(Recive_Uart1);
  Recive_Uart1Handle = osSemaphoreCreate(osSemaphore(Recive_Uart1), 1);

  /* definition and creation of Recive_Uart2 */
  osSemaphoreDef(Recive_Uart2);
  Recive_Uart2Handle = osSemaphoreCreate(osSemaphore(Recive_Uart2), 1);

  /* definition and creation of Recive_Uart3 */
  osSemaphoreDef(Recive_Uart3);
  Recive_Uart3Handle = osSemaphoreCreate(osSemaphore(Recive_Uart3), 1);

  /* Create the timer(s) */
  /* definition and creation of mdtimer */
  osTimerDef(mdtimer, MdTimer);
  mdtimerHandle = osTimerCreate(osTimer(mdtimer), osTimerPeriodic, (void *)Slave1_Object);

  /* Create the queue(s) */
  /* definition and creation of UserQueue */
  osMessageQDef(UserQueue, 4, Save_User);
  UserQueueHandle = osMessageCreate(osMessageQ(UserQueue), NULL);

  /* Create the thread(s) */
  /* definition and creation of Shell */
  osThreadDef(Shell, Shell_Task, osPriorityLow, 0, 1024);
  ShellHandle = osThreadCreate(osThread(Shell), (void *)&shell);

  /* definition and creation of Input */
  osThreadDef(Input, Input_Task, osPriorityAboveNormal, 0, 256);
  InputHandle = osThreadCreate(osThread(Input), NULL);

  /* definition and creation of Output */
  osThreadDef(Output, Out_Task, osPriorityNormal, 0, 256);
  OutputHandle = osThreadCreate(osThread(Output), NULL);

  /* definition and creation of Update */
  osThreadDef(Update, Update_Task, osPriorityHigh, 0, 256);
  UpdateHandle = osThreadCreate(osThread(Update), (void *)Slave1_Object);

  /* definition and creation of Screen */
  osThreadDef(Screen, Screen_Task, osPriorityNormal, 0, 256);
  ScreenHandle = osThreadCreate(osThread(Screen), NULL);

  /* definition and creation of RS485 */
  osThreadDef(RS485, RS485_Task, osPriorityLow, 0, 128);
  RS485Handle = osThreadCreate(osThread(RS485), NULL);

  /* definition and creation of Contrl */
  osThreadDef(Contrl, Contrl_Task, osPriorityHigh, 0, 1024);
  ContrlHandle = osThreadCreate(osThread(Contrl), NULL);

  /* definition and creation of Report */
  osThreadDef(Report, Report_Task, osPriorityBelowNormal, 0, 256);
  ReportHandle = osThreadCreate(osThread(Report), NULL);

  /* USER CODE BEGIN RTOS_THREADS */
  /* add threads, ... */
  // osTimerStart(reportHandle, REPORT_TIMES);
  osTimerStart(mdtimerHandle, MD_TIMES);
  // osThreadSuspend(ShellHandle);
  /* USER CODE END RTOS_THREADS */
}

void Shell_Task(void const *argument)
{
  /* USER CODE BEGIN Shell_Task */
  /* Infinite loop */
  for (;;)
  {
    shellTask((void *)argument);
  }
  /* USER CODE END Shell_Task */
}

void Input_Task(void const *argument)
{
  /* USER CODE BEGIN Input_Task */
  /* Infinite loop */
  for (;;)
  {
    Read_Io_Handle();
#if defined(USING_DEBUG)
    osDelay(1000);
#else
    osDelay(100);
#endif
  }
  /* USER CODE END Input_Task */
}

void Out_Task(void const *argument)
{
  /* USER CODE BEGIN Out_Task */
  /* Infinite loop */
  for (;;)
  {
    // Output_Current(&dac_object, 4.0F);
    Write_Io_Handle();
    osDelay(100);
  }
  /* USER CODE END Out_Task */
}

void Update_Task(void const *argument)
{
  /* USER CODE BEGIN Update_Task */
  uint32_t update_flag = 0;
  /* Infinite loop */
  for (;;)
  {
    /*https://www.cnblogs.com/w-smile/p/11333950.html*/
    if (osOK == osSemaphoreWait(Recive_Uart3Handle, osWaitForever))
    {
      // Check_Mode((struct ModbusRTUSlave *)argument) ? (__set_FAULTMASK(1), NVIC_SystemReset()) : mdRTU_Handler(Slave1_Object);
      if (Check_Mode((struct ModbusRTUSlave *)argument))
      {
#if defined(USING_DEBUG)
        shellPrint(Shell_Object, "About to enter upgrade mode .......\r\n");
#endif
        /*Clear mcp4822 output*/
        extern Dac_Obj dac_object_group[EXTERN_ANALOGOUT_MAX];
        for (uint8_t ch = 0; ch < EXTERN_ANALOGOUT_MAX; ch++)
        {
          Output_Current(&dac_object_group[ch], 0);
        }
        /*Switch to the upgrade page*/
        if (Dwin_Object)
        {
#define Update_Page 0x0F
          Dwin_Object->Dw_Page(Dwin_Object, Update_Page);
        }

        update_flag = (*(__IO uint32_t *)UPDATE_SAVE_ADDRESS);

        if (((update_flag & 0xFFFF0000) >> 16U) == UPDATE_APP1)
        {
          update_flag = (((uint32_t)UPDATE_APP2 << 16U) | UPDATE_CMD);
        }
        else
        {
          update_flag = (((uint32_t)UPDATE_APP1 << 16U) | UPDATE_CMD);
        }
        // update_flag = ((*(__IO uint32_t *)UPDATE_SAVE_ADDRESS) & 0xFFFF0000) | UPDATE_CMD;
        taskENTER_CRITICAL();
        FLASH_Write(UPDATE_SAVE_ADDRESS, (uint16_t *)&update_flag, sizeof(update_flag));
        taskEXIT_CRITICAL();
        NVIC_SystemReset();
      }
      else
      {
        mdRTU_Handler(Slave1_Object);
      }
      // mdRTU_Handler(Slave1_Object);
    }
  }
  /* USER CODE END Update_Task */
}

void Screen_Task(void const *argument)
{
  /* USER CODE BEGIN Screen_Task */
  /* Infinite loop */
  for (;;)
  {
    /*https://www.cnblogs.com/w-smile/p/11333950.html*/
    if (osOK == osSemaphoreWait(Recive_Uart1Handle, osWaitForever))
    {
      /*Screen data distribution detected, close reporting*/
      // osTimerStop(reportHandle);
      Dwin_Handler(Dwin_Object);
      // osTimerStart(reportHandle, REPORT_TIMES);
#if defined(USING_DEBUG)
      // shellPrint(Shell_Object, "Dwin data!\r\n");
      // shellPrint(Shell_Object, "rx_count = %d\r\n", Dwin_Object->Slave.RxCount);
#endif
    }
  }
  /* USER CODE END Screen_Task */
}

void RS485_Task(void const *argument)
{
  /* USER CODE BEGIN RS485_Task */
  /* Infinite loop */
  for (;;)
  {
    /*https://www.cnblogs.com/w-smile/p/11333950.html*/
    if (osOK == osSemaphoreWait(Recive_Uart2Handle, osWaitForever))
    {

#if defined(USING_DEBUG)
// shellPrint(Shell_Object, "RS485 data!\r\n");
#else
      mdRTU_Handler(Slave2_Object);
#endif
    }
  }
  /* USER CODE END RS485_Task */
}

void Contrl_Task(void const *argument)
{
/* USER CODE BEGIN Contrl_Task */
#define PI 3.2415926F
#define OFFSET 4U
#define BX_SIZE 4U
#if defined(USING_LYNCH)
#define VX_SIZE 6U
#else
#define VX_SIZE 5U
#endif
#define ACTION_TIMES 1000U
#define ACTION_DELAY_TIMES (ACTION_TIMES * 5U)
#define STIMES (10U * 1000U / ACTION_TIMES)
#define CURRENT_UPPER 16.0F
#define CURRENT_LOWER 4.0F
#define Get_Target(__current, __upper, __lower) \
  (((__current)-CURRENT_LOWER) / CURRENT_UPPER * ((__upper) - (__lower)) + (__lower))
#define Get_Tank_Level(__R, __L, __H) \
  (PI * ((__R) * (__R) * (__L) + (__H) * (__H) * (__H) / 96.0F))
#define Set_SoftTimer_Flag(__obj, __val) \
  ((__obj)->flag = (__val))
#define Sure_Overtimes(__obj, __times)                                     \
  ((__obj)->flag ? (++(__obj)->counts >= (__times) ? (__obj)->counts = 0U, \
                    (__obj)->flag = false, true : false)                   \
                 : false)
#define Clear_Counter(__obj) ((__obj)->counts = 0U)
#define Open_Vx(__x) ((__x) <= VX_SIZE ? wbit[__x - 1U] = true : false)
#define Close_Vx(__x) ((__x) <= VX_SIZE ? wbit[__x - 1U] = false : false)
  mdBit sbit = mdLow, mode = mdLow;
  // mdU32 addr;
  mdSTATUS ret = mdFALSE;
#if defined(USING_LYNCH)
  static mdBit wbit[] = {false, false, false, false, false, false};
#else
  static mdBit wbit[] = {false, false, false, false, false};
#endif
  static Soft_Timer_HandleTypeDef timer[] = {
      {.counts = 0, .flag = false},
      {.counts = 0, .flag = false},
  };
  Save_HandleTypeDef *ps = &Save_Flash;
  Save_User usinfo;
  static bool mutex_flag = false;
  uint32_t next_times = 0;

  /* Infinite loop */
  for (;;)
  {
    uint32_t error_code = 0;
    // goto __no_action;

    next_times = ACTION_TIMES;
    // memset((void *)&pas->User, 0x00, BX_SIZE * 2U);
    memset((void *)&ps->User, 0x00, BX_SIZE * 2U);
    // ret = mdRTU_ReadInputRegisters(Slave1_Object, INPUT_ANALOG_START_ADDR, BX_SIZE * 2U, (mdU16 *)&pas->User);
    ret = mdRTU_ReadInputRegisters(Slave1_Object, INPUT_ANALOG_START_ADDR, BX_SIZE * 2U, (mdU16 *)&ps->User);
    if (ret == mdFALSE)
    {
#if defined(USING_DEBUG)
      shellPrint(Shell_Object, "Failed to read input register!\r\n");
#endif
      goto __no_action;
    }
    taskENTER_CRITICAL();
    for (float *p = &ps->User.Ptank, *pu = &ps->Param.Ptank_max, *pinfo = (float *)&usinfo;
         p < &ps->User.Ptank + BX_SIZE; p++, pu += 2U, pinfo++)
    {
#define ERROR_BASE_CODE 0x02
      uint8_t site = p - &ps->User.Ptank;
#if defined(USING_DEBUG)
      // shellPrint(Shell_Object, "R_Current[0x%X] = %.3f\r\n", p, *p);
#endif
      // Endian_Swap((uint8_t *)p, 0U, sizeof(float));
      /*User sensor access error check*/
#define ERROR_CHECK
      {
        if (!error_code && (site != 0x02))
          error_code = *p <= 0.5F
                           ? (3U * site + ERROR_BASE_CODE)
                           : (*p < (CURRENT_LOWER - 0.5F) /*Disconnection detection offset 0.5mA*/
                                  ? (3U * site + ERROR_BASE_CODE + 1U)
                                  : (*p > (CURRENT_LOWER + CURRENT_UPPER + 1.0F)
                                         ? (3U * site + ERROR_BASE_CODE + 2U)
                                         : 0));
      }
      /*Convert analog signal into physical quantity*/
      *p = (0x03 == site) ? Get_Tank_Level(ps->Param.Ptoler_upper, Get_Target(*p, *pu, *(pu + 1U)), ps->Param.Ptoler_lower)
                          : Get_Target(*p, *pu, *(pu + 1U)); // Calculate the current liquid level volume of vertical storage tank
      *p = *p <= 0.0F ? 0 : *p;
      *pinfo = *p;
#if defined(USING_DEBUG)
      // shellPrint(Shell_Object, "max = %.3f,min = %.3f, C_Value[0x%p] = %.3fMpa/M3\r\n", *pu, *(pu + 1U), p, *p);
#endif
    }
#if !defined(USING_B3)
    /*Shield vaporizer outlet pressure failure*/
    if ((error_code == 0x08) || (error_code == 0x09))
      error_code = 0;
#endif
    ps->Param.Error_Code = error_code;
    taskEXIT_CRITICAL();
    xQueueSend(UserQueueHandle, &usinfo, 10);

#if defined(USING_DEBUG)
    // shellPrint(Shell_Object, "ps->User.Ptank = %.3f\r\n", ps->User.Ptank);
#endif

    // Open_Vx(1U), Open_Vx(2U), Open_Vx(3U), Open_Vx(4U);
    // goto __no_action;

    /*Read start signal*/
    ret = mdRTU_ReadInputCoil(Slave1_Object, INPUT_DIGITAL_START_ADDR, sbit);
    if (ret == mdFALSE)
    {
#if defined(USING_DEBUG)
      shellPrint(Shell_Object, "IN_D[%d] = 0x%d\r\n", INPUT_DIGITAL_START_ADDR, sbit);
#endif
      goto __no_action;
    }
    /*Manual mode management highest authority*/
    ret = mdRTU_ReadCoil(Slave1_Object, M_MODE_ADDR, mode);
    if (ret == mdFALSE)
    {
#if defined(USING_DEBUG)
      shellPrint(Shell_Object, "Mode[%d] = 0x%d\r\n", INPUT_DIGITAL_START_ADDR, mode);
#endif
      goto __no_action;
    }
    if (mode == mdHigh)
    {
#if defined(USING_DEBUG)
      shellPrint(Shell_Object, "Note: Manual mode startup, automatic management failure!\r\n");
#endif
      /*Clear error codes*/
      ps->Param.Error_Code = 0;
      goto __exit;
    }
    /*Safe operation guarantee*/
#define SAFETY
    { /*V1在开始�?�停机模式只有打�?????，没有关闭！！！*/
      if ((ps->User.Ptank <= ps->Param.Ptank_limit) ||
          (ps->User.Ltank <= ps->Param.Ltank_limit) || (ps->Param.Error_Code))
      {
#if defined(USING_LYNCH)
        /*close V1、V2、V3, open V6*/
        Close_Vx(1U), Close_Vx(2U), Close_Vx(3U), Close_Vx(4U), Close_Vx(5U), Open_Vx(6U);
#else
        /*close V1、V2、V3*/
        Close_Vx(1U), Close_Vx(2U), Close_Vx(3U), Close_Vx(4U), Close_Vx(5U);
#endif
#if defined(USING_DEBUG_APPLICATION)
        shellPrint(Shell_Object, "SAF: close V1 V2 V3; open V6\r\n");
#endif
        goto __no_action;
      }
    }
#if defined(USING_DEBUG_APPLICATION)
    shellPrint(Shell_Object, "sbit = 0x%d\r\n", sbit);
#endif
    /*Start mode*/
    if (sbit)
    {
#define D1
      {
        /*close V4*/
        Close_Vx(4U);
#if defined(USING_DEBUG_APPLICATION)
        shellPrint(Shell_Object, "D1: close V4\r\n");
#endif
      }
#define A1
      {
#if defined(USING_DEBUG_APPLICATION)
        // shellPrint(Shell_Object, "ps->User.Ptank = %.3f, ps->Param.PSspf_start = %.3f\r\n", ps->User.Ptank, ps->Param.PSspf_start);
#endif
        /*Pressure relief*/
        if (ps->User.Ptank >= ps->Param.PSspf_start)
        { /*open counter*/
          // Set_SoftTimer_Flag(&timer[0U], true);

#if defined(USING_LYNCH)
          /*close V1、V6;open V2、V3*/
          Close_Vx(1U), Open_Vx(2U), Open_Vx(3U), Close_Vx(6U);
#else
          /*close V1、open V2、V3*/
          Close_Vx(1U), Open_Vx(2U), Open_Vx(3U);
#endif
          /*set flag*/
          mutex_flag = true;
#if defined(USING_DEBUG_APPLICATION)
          shellPrint(Shell_Object, "A1: close V1 V6; open V2 V3\r\n");
#endif
          goto __no_action;
        }
        else
        {
          if (ps->User.Ptank <= ps->Param.PSspf_stop)
          {
            mutex_flag = false;
            /*close V2 、close V4*/
            Close_Vx(2U), Close_Vx(4U);
#if defined(USING_DEBUG_APPLICATION)
            shellPrint(Shell_Object, "A1: close V2 V4\r\n");
#endif
          }
          else
          {
            if (mutex_flag)
            {
              goto __no_action;
            }
            else
            {
              /*openV3*/
              Open_Vx(3U);
#if defined(USING_DEBUG_APPLICATION)
              shellPrint(Shell_Object, "A1: open V3\r\n");
#endif
            }
          }
        }
      }
#define B1C1
      {
        if (ps->User.Pvap_outlet >= ps->Param.PSvap_outlet_Start)
        {
          Set_SoftTimer_Flag(&timer[1U], true);
          if (Sure_Overtimes(&timer[1U], STIMES))
          {
            // osDelay(10000);
            /*open V3*/
            Open_Vx(3U);
#if defined(USING_DEBUG_APPLICATION)
            shellPrint(Shell_Object, "B1C1: open V3\r\n");
#endif
          }
          /*open V1 、close V2*/
          Open_Vx(1U), Close_Vx(2U);
#if defined(USING_DEBUG_APPLICATION)
          shellPrint(Shell_Object, "B1C1: open V1 close V2\r\n");
#endif
        }
        else if (ps->User.Pvap_outlet <= ps->Param.PSvap_outlet_stop)
        {
          /*Clear counter*/
          Clear_Counter(&timer[1U]);
          /*open counter*/
          // Set_SoftTimer_Flag(&timer[1U], true);
          /*close V3*/
          Close_Vx(3U), Close_Vx(1U), Open_Vx(2U);
          next_times = ACTION_DELAY_TIMES; // 解决气相阀打开时间太短导致的震荡
#if defined(USING_DEBUG_APPLICATION)
          shellPrint(Shell_Object, "B1C1: close V3 close V1 open V2\r\n");
#endif
        }
      }
    }
    /*stop mode*/
    else
    {
      /*Check whether the pressure relief operation is on*/
      if (mutex_flag)
      {
        mutex_flag = false;
      }
#define A2
      {
        if (((ps->User.Pvap_outlet - ps->User.Ptank) >= ps->Param.Pback_difference) &&
            (ps->User.Ptank < ps->Param.Ptank_difference))
        {
          /*open V2*/
          Open_Vx(2U);
          next_times = ACTION_DELAY_TIMES; // 解决气相阀打开时间太短导致的震荡
#if defined(USING_DEBUG_APPLICATION)
          shellPrint(Shell_Object, "A2: open V2\r\n");
#endif
        }
        else
        {
          /*Close V2*/
          Close_Vx(2U);
#if defined(USING_DEBUG_APPLICATION)
          shellPrint(Shell_Object, "A2: Close V2\r\n");
#endif
        }
      }
#define B2
      {
        if (ps->User.Pvap_outlet >= ps->Param.PPvap_outlet_Start)
        {
          /*open V3、open V5、close V2*/
          Open_Vx(3U), Open_Vx(5U), Close_Vx(2U);
#if defined(USING_DEBUG_APPLICATION)
          shellPrint(Shell_Object, "B2: open V3 open V5 close V2\r\n");
#endif
        }
        else if (ps->User.Pvap_outlet <= ps->Param.PPvap_outlet_stop)
        {
          /*close V3*/
          Close_Vx(3U), Close_Vx(5U);
#if defined(USING_DEBUG_APPLICATION)
          shellPrint(Shell_Object, "B2: close V3 close V5\r\n");
#endif
        }
      }
#define C2
      {
        if (ps->User.Ptank >= ps->Param.PPspf_start)
        {
          /*open V4*/
          Open_Vx(4U);
#if defined(USING_DEBUG_APPLICATION)
          shellPrint(Shell_Object, "C2: open V4\r\n");
#endif
        }
        else if (ps->User.Ptank <= ps->Param.PPspf_stop)
        {
          /*close V4*/
          Close_Vx(4U);
#if defined(USING_DEBUG_APPLICATION)
          shellPrint(Shell_Object, "C2: close V4\r\n");
#endif
        }
      }
#define D2
      {
        /*close V1*/
        Close_Vx(1U);
#if defined(USING_DEBUG_APPLICATION)
        shellPrint(Shell_Object, "D2: close V1\r\n");
#endif
      }
    }
  __no_action:
#if defined(USING_DEBUG_APPLICATION)
    for (uint16_t i = 0; i < VX_SIZE; i++)
    {
      // ret = mdRTU_WriteCoil(Slave1_Object, i, wbit[i]);
      shellPrint(Shell_Object, "wbit[%d] = 0x%x\r\n", i, wbit[i]);
    }
#endif
    ret = mdRTU_WriteCoils(Slave1_Object, OUT_DIGITAL_START_ADDR, VX_SIZE, wbit);
    if (ret == mdFALSE)
    {
#if defined(USING_DEBUG)
      shellPrint(Shell_Object, "write failed!\r\n");
#endif
    }
  __exit:
    osDelay(next_times);
  }
  /* USER CODE END Contrl_Task */
}

void Report_Task(void const *argument)
{
  /* USER CODE BEGIN Report_Task */
  mdU16 buf[] = {0, 0};
  uint8_t bit = 0;
  static bool first_flag = false;
  Save_HandleTypeDef *ps = &Save_Flash;
  Save_User urinfo;
  uint16_t size = sizeof(buf) + sizeof(urinfo) + (sizeof(float) * ADC_DMA_CHANNEL);
#if defined(USING_FREERTOS)
  uint8_t data[sizeof(buf) + sizeof(urinfo) + (sizeof(float) * ADC_DMA_CHANNEL)], *pdata = data;
  // uint8_t *pdata = (uint8_t *)CUSTOM_MALLOC(size);
  // if (!pdata)
  //   goto __exit;
#else
  float pdata[ADC_DMA_CHANNEL];
#endif
  /* Infinite loop */
  for (;;)
  {
    memset(pdata, 0x00, size);
    memset(buf, 0x00, sizeof(buf));
    for (uint16_t i = 0; i < EXTERN_DIGITALIN_MAX; i++)
    {
      mdRTU_ReadInputCoil(Slave1_Object, INPUT_DIGITAL_START_ADDR + i, bit);
      buf[0] |= bit << (i + 8U);
      mdRTU_ReadCoil(Slave1_Object, OUT_DIGITAL_START_ADDR + i, bit);
      buf[1] |= bit << (i + 8U);
    }
    /*Read 4G module status*/
    buf[0] |= Read_LTE_State();
    memcpy(pdata, buf, sizeof(buf));
#if defined(USING_DEBUG)
    // shellPrint(Shell_Object, "rbit = 0x%02x.\r\n", rbit);
#endif
    BaseType_t ret = xQueueReceive(UserQueueHandle, (void *)&urinfo, 10);
    if (ret == pdPASS) // 使用有效的用户数据
    {
      for (float *puser = &urinfo.Ptank; puser < &urinfo.Ptank + BX_SIZE; puser++)
      {
#if defined(USING_DEBUG)
        // shellPrint(Shell_Object, "Value[%d] = %.3fMpa/M3\r\n", i, temp_data[i]);
#endif
        Endian_Swap((uint8_t *)puser, 0U, sizeof(float));
      }
    }
    memcpy(&pdata[sizeof(buf)], &urinfo, sizeof(urinfo));

    /*Analog input*/
    mdRTU_ReadInputRegisters(Slave1_Object, INPUT_ANALOG_START_ADDR, ADC_DMA_CHANNEL * 2U,
                             (mdU16 *)&pdata[sizeof(buf) + sizeof(urinfo)]);
    for (uint8_t i = 0; i < ADC_DMA_CHANNEL; i++)
    {
      Endian_Swap((uint8_t *)&pdata[sizeof(buf) + sizeof(urinfo) + i * sizeof(float)], 0U, sizeof(float));
    }
    Dwin_Object->Dw_Write(Dwin_Object, DIGITAL_INPUT_ADDR, (uint8_t *)pdata, size);
    osDelay(5);

    /*Analog output*/
    mdRTU_ReadHoldRegisters(Slave1_Object, OUT_ANALOG_START_ADDR, EXTERN_ANALOGOUT_MAX * 2U, (mdU16 *)pdata);
    for (uint8_t i = 0; i < EXTERN_ANALOGOUT_MAX; i++)
    {
      Endian_Swap((uint8_t *)&pdata[i * sizeof(float)], 0U, sizeof(float));
    }
    Dwin_Object->Dw_Write(Dwin_Object, ANALOG_OUTPUT_ADDR, (uint8_t *)pdata, EXTERN_ANALOGOUT_MAX * sizeof(float));
    osDelay(5);
    /*Report error code*/
    if (ps->Param.Error_Code)
    {
#define ERROR_PAGE 0x0E
#define MAIN_PAGE 0x03
      buf[0] = (uint16_t)ps->Param.Error_Code;
      buf[0] = (buf[0] >> 8U) | (buf[0] << 8U);
      buf[1] = 0x0100;
      Dwin_Object->Dw_Write(Dwin_Object, ERROR_CODE_ADDR, (uint8_t *)buf, sizeof(buf));
      osDelay(5);
      Dwin_Object->Dw_Page(Dwin_Object, ERROR_PAGE);
      first_flag = false;
    }
    else
    {
      if (!first_flag)
      {
        first_flag = true;
        Dwin_Object->Dw_Page(Dwin_Object, MAIN_PAGE);
      }
    }
    /*Parameter write back to holding register*/
    // extern void Param_WriteBack(Save_HandleTypeDef * ps);
    Param_WriteBack(ps);
#if defined(USING_FREERTOS)
    // __exit:
    //   CUSTOM_FREE(pdata);
#endif
    osDelay(REPORT_TIMES);
  }
  /* USER CODE END Report_Task */
}

/* MdTimer function */
void MdTimer(void const *argument)
{
  /* USER CODE BEGIN MdTimer */
  ModbusRTUSlaveHandler pMd = (ModbusRTUSlaveHandler)argument;
  // g_Status ^= GPIO_PIN_SET;
  /*Hardware watchdog feed dog*/
  // HAL_GPIO_WritePin(WDI_GPIO_Port, WDI_Pin, g_Status);
  HAL_GPIO_TogglePin(WDI_GPIO_Port, WDI_Pin);

  if (!pMd)
  {
    return;
  }
  /*考虑加互斥锁：在update�??????????46指令*/
  // mdRTU_46H(pMd->slaveId, 0x00, 0x00, 0x00, NULL);
  //  pMd->mdRTU_46H(pMd, 0x00, 0x00, 0x00, NULL);

#if defined(USING_DEBUG)
/****************Digital input and output test********************/
// uint8_t bit = 0;
// /*Test digital input and output*/
// for (uint16_t i = 0; i < EXTERN_DIGITALIN_MAX; i++)
// {
//   mdRTU_ReadInputCoil(Slave1_Object, i, bit);
//   if (i < EXTERN_DIGITALOUT_MAX)
//   {
//     mdRTU_WriteCoil(Slave1_Object, i, bit);
//   }
#if defined(USING_DEBUG)
  //   shellPrint(Shell_Object, "IN_D[%d] = 0x%x\r\n", i, bit);
#endif
  // }
  /****************Analog input test*********************/
  // mdSTATUS ret = mdFALSE;
  // float pdata[ADC_DMA_CHANNEL];
  // memset(pdata, 0x00, sizeof(pdata));
  // /*读输入寄存器*/
  // ret = mdRTU_ReadInputRegisters(Slave1_Object, INPUT_ANALOG_START_ADDR, ADC_DMA_CHANNEL * 2U, (mdU16 *)&pdata);
  // // ret = Slave1_Object->registerPool->mdReadInputRegisters(Slave1_Object->registerPool, INPUT_ANALOG_START_ADDR, ADC_DMA_CHANNEL * 2U, (mdU16 *)&pdata);
  // for (uint16_t ch = 0; ch < ADC_DMA_CHANNEL; ch++)
  // {
  //   Endian_Swap((uint8_t *)&pdata[ch], 0U, sizeof(float));
#if defined(USING_DEBUG)
  // shellPrint(Shell_Object, "R_AD[%d] = %.3f\r\n", ch, pdata[ch]);
#endif
  // }

  /****************Analog output test*********************/
  // float pdata[EXTERN_ANALOGOUT_MAX] = {20.0F, 20.0F, 20.0F, 20.0F};
  // for (uint16_t ch = 0; ch < EXTERN_ANALOGOUT_MAX; ch++)
  //   Endian_Swap((uint8_t *)&pdata[ch], 0U, sizeof(float));
  // mdRTU_WriteHoldRegs(Slave1_Object, OUT_ANALOG_START_ADDR, EXTERN_ANALOGOUT_MAX * 2U, (mdU16 *)&pdata);
#endif
  /* USER CODE END MdTimer */
}
